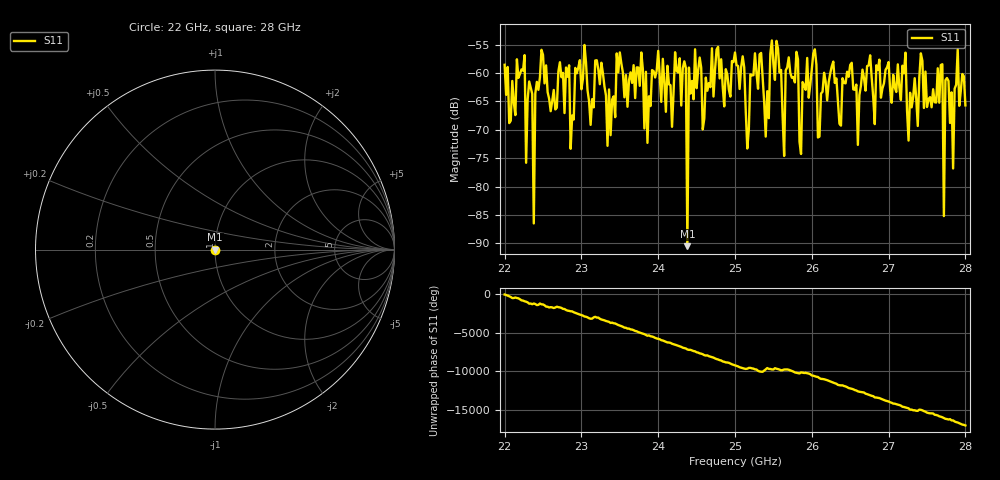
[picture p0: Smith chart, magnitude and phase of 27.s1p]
#  HZ  S  RI  R  50.00
! Rohde & Schwarz ZVA40 4Ports - Version 3.90 - 1145.1110k42 SN: 100403
! Date: 2023-10-04 11:36:03
! Measurement: S12
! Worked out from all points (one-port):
!   301 points, 22 GHz to 28 GHz, reference 50 ohm
!   lowest |S11| = -90.5 dB at 24.38 GHz (marker M1), VSWR 1.00, Z = 50 + j0.00225 ohm
!   |S11| at or under -10 dB: start of sweep to end of sweep
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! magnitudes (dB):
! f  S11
! 22 GHz  -58.5
! 22.26 GHz  -56.8
! 22.28 GHz  -75.8
! 22.32 GHz  -61.5
! 22.38 GHz  -86.5
! 22.48 GHz  -55.9
! 22.76 GHz  -60.0
! 23.34 GHz  -72.8
! 23.5 GHz  -56.4
! 23.86 GHz  -72.3
! 24.26 GHz  -59.9
! 24.36 GHz  -59.1
! 24.38 GHz  -90.5
! 24.4 GHz  -59.0
! 24.48 GHz  -55.8
! 25 GHz  -56.4
! 25.16 GHz  -73.3
! 25.26 GHz  -56.5
! 25.4 GHz  -71.2
! 25.54 GHz  -54.3
! 25.64 GHz  -74.6
! 25.76 GHz  -60.7
! 26.5 GHz  -58.6
! 26.6 GHz  -72.7
! 27.22 GHz  -56.4
! 27.26 GHz  -71.9
! 27.42 GHz  -56.5
! 28 GHz  -65.7
